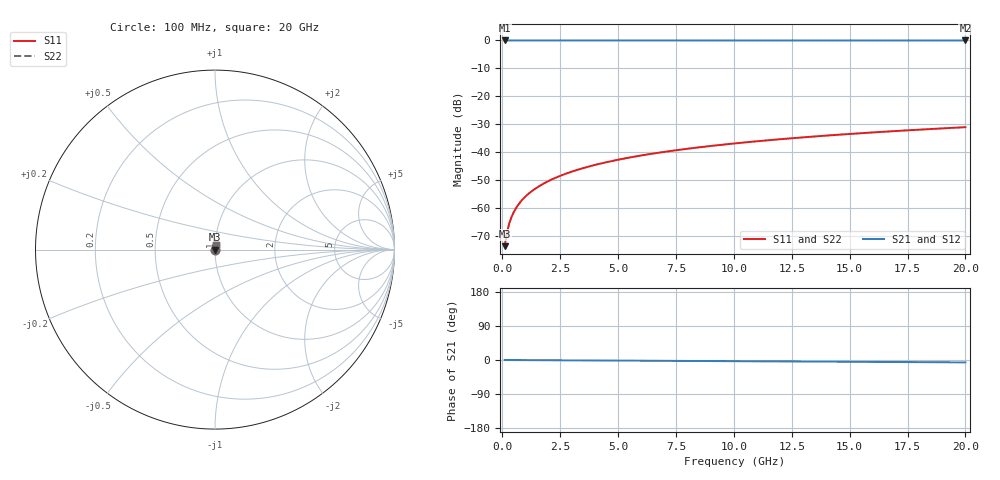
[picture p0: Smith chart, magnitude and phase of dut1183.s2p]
! Touchstone file exported from HFSS 2026.1.0
!  File:  C:/ffzhzh/LocalFiles/Ansys_Project_Files/temp_train_TSV_1183_1783192284_18472.aedt
!  Generated:  03:12:49 AM Jul  5, 2026
!  Design:  TSV
!  Project:  temp_train_TSV_1183_1783192284_18472
! Variables:
!  h_bsmrdl = 2um
!  h_ox = 20um
!  h_rdl = 5um
!  h_sub = 55.24um
!  h_tmrdl = 5um
!  h_tsv = 55.24um
!  h_via = 3um
!  l_bsmrdl = 300um
!  l_sub = 418.02um
!  l_tmrdl = 200um
!  m_sub = 200um
!  pitch = 48.72um
!  r_tsv = 9.01um
!  s_tmrdl = 10um
!  w_bsmrdl = 18um
!  w_sub = 500um
!  w_tmrdl = 12um
!  x_tsv_center1 = 206um
!  x_tsv_center2 = 524um
!  x_tsv_center3 = 736um
!  x_tsv_center4 = 1054um
!  x_tsv_center5 = 1266um
!  x_tsv_center6 = 1584um
# GHz S MA R 50.000000
! Terminal data exported
! Port[1] = TSV1_1_T1
! Port[2] = TSV1_1_T2
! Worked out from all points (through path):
!   200 points, 100 MHz to 20 GHz, reference 50 ohm
!   highest |S21| = 0.00 dB at 100 MHz (marker M1); lowest = 0.0 dB at 20 GHz (marker M2)
!   lowest |S11| = -73.8 dB at 100 MHz (marker M3), VSWR 1.00, Z = 50 + j0.0171 ohm
!   |S11| at or under -10 dB: start of sweep to end of sweep
!   |S22| runs from -73.8 to -31.1 dB; largest |S21 - S12| = 3.7e-15
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0.1  0.0002044 56.7  0.9999 -0.0  0.9999 -0.0  0.0002044 56.7
! Gamma 0 0 0 0
! Port Impedance 50 0 50 0
0.2  0.0003607 70.4  0.9999 -0.1  0.9999 -0.1  0.0003607 70.4
0.3  0.0005228 75.1  0.9999 -0.1  0.9999 -0.1  0.0005228 75.1
0.4  0.0006835 77.3  0.9999 -0.1  0.9999 -0.1  0.0006835 77.3
0.5  0.000841 78.5  0.9998 -0.2  0.9998 -0.2  0.000841 78.5
0.6  0.0009951 79.2  0.9998 -0.2  0.9998 -0.2  0.0009951 79.2
0.7  0.001146 79.8  0.9998 -0.2  0.9998 -0.2  0.001146 79.8
0.8  0.001295 80.2  0.9998 -0.3  0.9998 -0.3  0.001295 80.2
1  0.001587 80.9  0.9998 -0.3  0.9998 -0.3  0.001587 80.9
1.4  0.002161 82.0  0.9997 -0.4  0.9997 -0.4  0.002161 82.0
1.7  0.002589 82.7  0.9997 -0.5  0.9997 -0.5  0.002589 82.7
2  0.003016 83.1  0.9997 -0.6  0.9997 -0.6  0.003016 83.1
2.7  0.004011 83.9  0.9996 -0.9  0.9996 -0.9  0.004011 83.9
3.5  0.005146 84.3  0.9996 -1.1  0.9996 -1.1  0.005146 84.3
4.2  0.006134 84.4  0.9995 -1.3  0.9995 -1.3  0.006134 84.4
5  0.007257 84.5  0.9995 -1.6  0.9995 -1.6  0.007257 84.5
6.8  0.009765 84.4  0.9994 -2.1  0.9994 -2.1  0.009765 84.4
8.3  0.01184 84.2  0.9993 -2.6  0.9993 -2.6  0.01184 84.2
10.1  0.01432 84.0  0.9992 -3.2  0.9992 -3.2  0.01432 84.0
13.4  0.01885 83.3  0.999 -4.2  0.999 -4.2  0.01885 83.3
16.7  0.02336 82.5  0.9988 -5.2  0.9988 -5.2  0.02336 82.5
20  0.02784 81.7  0.9986 -6.3  0.9986 -6.3  0.02784 81.7
